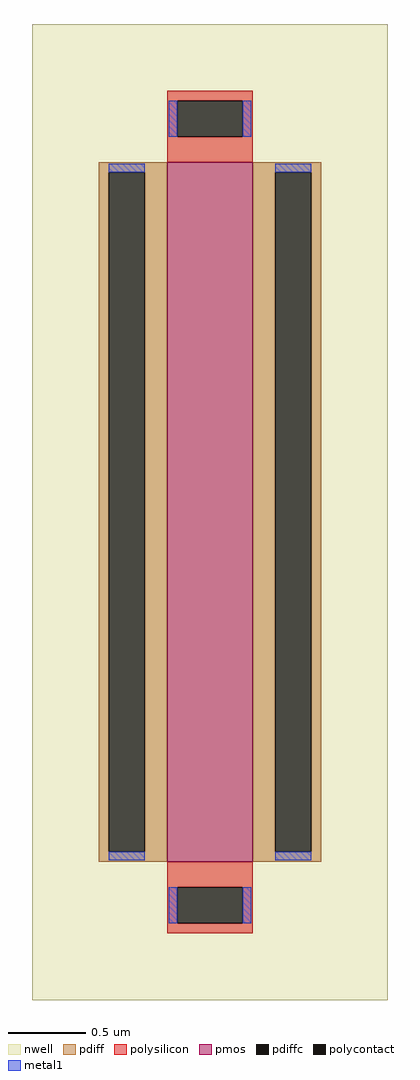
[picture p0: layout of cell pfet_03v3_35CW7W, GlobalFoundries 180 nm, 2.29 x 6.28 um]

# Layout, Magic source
magic
tech gf180mcuD
magscale 1 10
<< nwell >>
rect -229 -628 229 628
<< pmos >>
rect -55 -450 55 450
<< pdiff >>
rect -143 437 -55 450
rect -143 -437 -130 437
rect -84 -437 -55 437
rect -143 -450 -55 -437
rect 55 437 143 450
rect 55 -437 84 437
rect 130 -437 143 437
rect 55 -450 143 -437
<< pdiffc >>
rect -130 -437 -84 437
rect 84 -437 130 437
<< polysilicon >>
rect -55 529 55 542
rect -55 483 -42 529
rect 42 483 55 529
rect -55 450 55 483
rect -55 -483 55 -450
rect -55 -529 -42 -483
rect 42 -529 55 -483
rect -55 -542 55 -529
<< polycontact >>
rect -42 483 42 529
rect -42 -529 42 -483
<< metal1 >>
rect -53 483 -42 529
rect 42 483 53 529
rect -130 437 -84 448
rect -130 -448 -84 -437
rect 84 437 130 448
rect 84 -448 130 -437
rect -53 -529 -42 -483
rect 42 -529 53 -483
<< properties >>
string gencell pfet_03v3
string library gf180mcu
string parameters w 4.5 l 0.55 m 1 nf 1 diffcov 100 polycov 100 guard 0 glc 1 grc 1 gtc 0 gbc 0 tbcov 100 rlcov 100 topc 1 botc 1 poverlap 0 doverlap 1 lmin 0.28 wmin 0.22 class mosfet full_metal 1 compatible {pfet_03v3 pfet_06v0}
<< end >>
